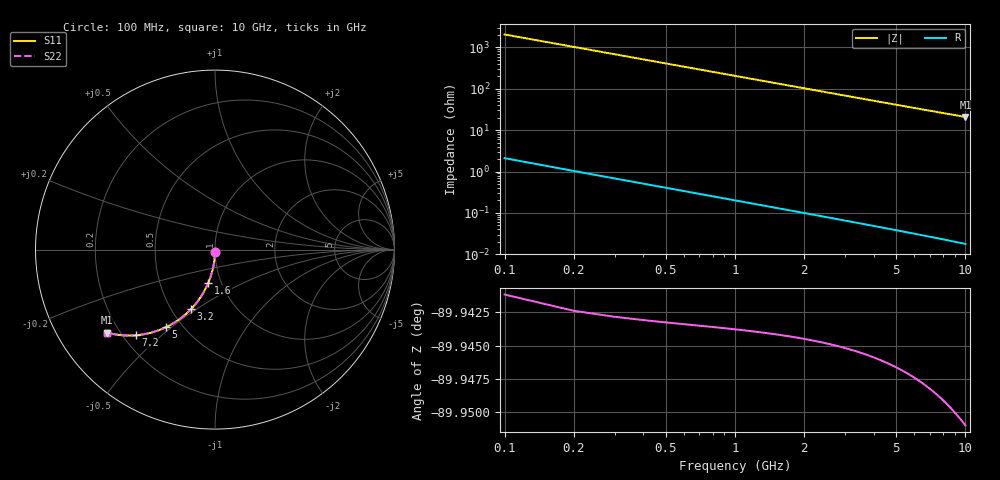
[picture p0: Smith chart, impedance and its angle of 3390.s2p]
# Hz S RI R 50.00
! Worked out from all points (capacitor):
!   100 points, 100 MHz to 10 GHz, reference 50 ohm
!   read as one part in shunt: C = 776 fF near 100 MHz
!   lowest |Z| = 20.9 ohm at 10 GHz (marker M1)
!   S11 on the Smith chart (normalised r, x): 100 MHz: 1.00, -0.02; 1.6 GHz: 0.87, -0.33; 3.2 GHz: 0.63, -0.47; 5 GHz: 0.41, -0.48; 7.2 GHz: 0.25, -0.42; 10 GHz: 0.15, -0.33
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1e8  -4.56e-05 -0.0119  0.9997 -0.0124  0.9997 -0.0124  -4.56e-05 -0.0119
2e8  -0.000502 -0.0238  0.9993 -0.0249  0.9993 -0.0249  -0.000502 -0.0238
3e8  -0.00125 -0.0357  0.9985 -0.0373  0.9985 -0.0373  -0.00125 -0.0357
4e8  -0.0023 -0.0476  0.9975 -0.0497  0.9975 -0.0497  -0.0023 -0.0476
5e8  -0.00364 -0.0594  0.9961 -0.062  0.9961 -0.062  -0.00364 -0.0594
6e8  -0.00527 -0.0712  0.9945 -0.0743  0.9945 -0.0743  -0.00527 -0.0712
7e8  -0.00719 -0.0829  0.9926 -0.0865  0.9926 -0.0865  -0.00719 -0.0829
9e8  -0.0119 -0.106  0.9879 -0.1107  0.9879 -0.1107  -0.0119 -0.106
1.2e9  -0.021 -0.1401  0.9788 -0.1463  0.9788 -0.1463  -0.021 -0.1401
1.6e9  -0.0367 -0.1837  0.963 -0.192  0.963 -0.192  -0.0367 -0.1837
1.8e9  -0.046 -0.2047  0.9537 -0.214  0.9537 -0.214  -0.046 -0.2047
2.4e9  -0.079 -0.2633  0.9207 -0.2757  0.9207 -0.2757  -0.079 -0.2633
3.2e9  -0.1325 -0.3304  0.8671 -0.347  0.8671 -0.347  -0.1325 -0.3304
3.4e9  -0.1471 -0.3451  0.8525 -0.3627  0.8525 -0.3627  -0.1471 -0.3451
4.2e9  -0.2086 -0.3951  0.7909 -0.4169  0.7909 -0.4169  -0.2086 -0.3951
5e9  -0.2723 -0.4318  0.7271 -0.4578  0.7271 -0.4578  -0.2723 -0.4318
5.1e9  -0.2803 -0.4355  0.7191 -0.4621  0.7191 -0.4621  -0.2803 -0.4355
5.9e9  -0.3432 -0.459  0.6561 -0.4897  0.6561 -0.4897  -0.3432 -0.459
6.7e9  -0.4031 -0.4726  0.596 -0.5076  0.596 -0.5076  -0.4031 -0.4726
7.2e9  -0.4386 -0.4769  0.5604 -0.5146  0.5604 -0.5146  -0.4386 -0.4769
8.4e9  -0.5164 -0.4771  0.4823 -0.5213  0.4823 -0.5213  -0.5164 -0.4771
1e10  -0.6037 -0.462  0.3946 -0.5148  0.3946 -0.5148  -0.6037 -0.462
